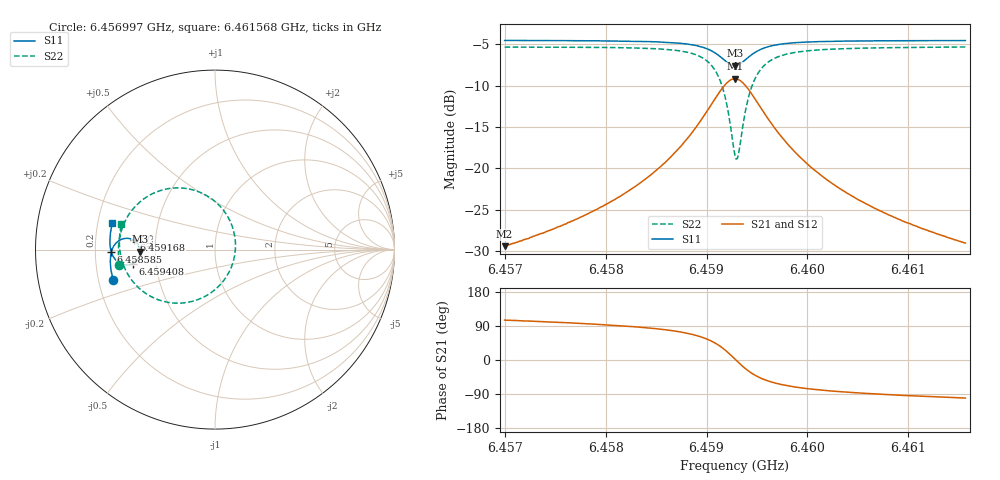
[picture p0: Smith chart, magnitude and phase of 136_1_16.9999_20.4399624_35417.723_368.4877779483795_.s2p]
#  HZ  S  RI  R  50.00
! Rohde & Schwarz Vector Network Analyzer
! Rohde-Schwarz,ZNB20-2Port,1311601062101988,3.16
! Created: UTC 3/20/2024, 10:58:08 PM
! freq[Hz]  re:S11  im:S11  re:S21  im:S21  re:S12  im:S12  re:S22  im:S22
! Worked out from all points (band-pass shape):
!   401 points, 6.456997 GHz to 6.461568 GHz, reference 50 ohm
!   highest |S21| = -9.18 dB at 6.459283 GHz (marker M1); lowest = -29.4 dB at 6.456997 GHz (marker M2)
!   |S21| within 3 dB of the highest: 6.459054 GHz to 6.459511 GHz (457 kHz wide, 0.00708 % of centre)
!   lowest |S11| = -7.6 dB at 6.459283 GHz (marker M3), VSWR 2.43, Z = 20.6 - j0.565 ohm
!   |S11| at or under -10 dB: nowhere
!   |S22| runs from -18.9 to -5.3 dB; largest |S21 - S12| = 0.014
!   S11 on the Smith chart (normalised r, x): 6.456997 GHz: 0.26, -0.14; 6.458585 GHz: 0.27, -0.01; 6.459168 GHz: 0.38, +0.05; 6.459408 GHz: 0.37, -0.07; 6.461568 GHz: 0.26, +0.12
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6.4569967e9  -0.5665 -0.1721  -0.00901 0.0326  -0.00715 0.0326  -0.533 -0.0834
6.4577625e9  -0.5805 -0.1049  -0.0056 0.0506  -0.00307 0.0501  -0.5381 0.00656
6.4581625e9  -0.5834 -0.0648  -0.000203 0.0689  0.00306 0.0676  -0.5306 0.0697
6.4585282e9  -0.5795 -0.0212  0.0143 0.0994  0.0183 0.0966  -0.5041 0.1516
6.4585854e9  -0.5777 -0.0133  0.0186 0.1062  0.0227 0.1032  -0.4958 0.1681
6.4587911e9  -0.5646 0.0189  0.0464 0.1388  0.0505 0.134  -0.4439 0.2409
6.4589397e9  -0.5417 0.0452  0.092 0.1697  0.0952 0.1628  -0.3599 0.3056
6.4590768e9  -0.4975 0.0628  0.1798 0.1862  0.1808 0.1788  -0.1998 0.3438
6.4591683e9  -0.4526 0.0524  0.2703 0.1544  0.2705 0.1487  -0.0328 0.2925
6.4592369e9  -0.4233 0.0199  0.3311 0.0819  0.3332 0.0767  0.0826 0.1618
6.4592826e9  -0.4164 -0.0113  0.3472 0.0136  0.3509 0.00672  0.1142 0.0342
6.459294e9  -0.417 -0.0196  0.3469 -0.00418  0.3507 -0.0119  0.1136 0.000508
6.4593169e9  -0.4205 -0.0353  0.3412 -0.039  0.3452 -0.0482  0.1022 -0.0656
6.4593626e9  -0.4362 -0.0615  0.3121 -0.0991  0.3146 -0.111  0.0437 -0.1785
6.4594083e9  -0.4584 -0.0779  0.27 -0.1402  0.2691 -0.1534  -0.0419 -0.253
6.4594997e9  -0.5021 -0.0849  0.1849 -0.1713  0.1787 -0.1828  -0.2111 -0.2985
6.4596483e9  -0.5462 -0.0645  0.0967 -0.1573  0.0883 -0.1635  -0.3786 -0.2488
6.4598083e9  -0.5679 -0.0369  0.0517 -0.1292  0.0441 -0.132  -0.459 -0.1765
6.4600483e9  -0.5808 -0.00129  0.0224 -0.0975  0.0167 -0.0982  -0.5069 -0.094
6.4604026e9  -0.5856 0.0409  0.00609 -0.0701  0.00209 -0.0696  -0.5287 -0.0127
6.4608141e9  -0.5838 0.0821  -0.00128 -0.0521  -0.00427 -0.0513  -0.5328 0.0531
6.4615684e9  -0.5719 0.1492  -0.0064 -0.0348  -0.00824 -0.0339  -0.5217 0.1426
